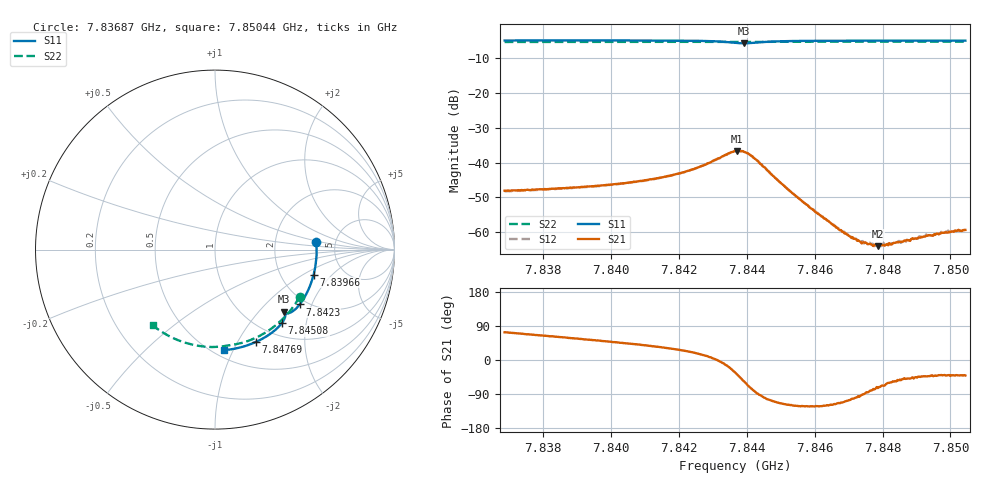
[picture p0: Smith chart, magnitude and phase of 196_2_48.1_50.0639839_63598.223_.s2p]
#  HZ  S  RI  R  50.00
! Rohde & Schwarz Vector Network Analyzer
! Rohde-Schwarz,ZNB20-2Port,1311601062101988,3.16
! Created: UTC 12/23/2023, 3:54:16 AM
! freq[Hz]  re:S11  im:S11  re:S21  im:S21  re:S12  im:S12  re:S22  im:S22
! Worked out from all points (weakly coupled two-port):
!   401 points, 7.83687 GHz to 7.85044 GHz, reference 50 ohm
!   highest |S21| = -36.66 dB at 7.84373 GHz (marker M1); lowest = -64.0 dB at 7.84786 GHz (marker M2)
!   lowest |S11| = -5.7 dB at 7.84393 GHz (marker M3), VSWR 3.13, Z = 73.4 - j69.2 ohm
!   |S11| at or under -10 dB: nowhere
!   |S22| runs from -5.4 to -5.3 dB; largest |S21 - S12| = 0.00031
!   S11 on the Smith chart (normalised r, x): 7.83687 GHz: 3.54, +0.46; 7.83966 GHz: 3.05, -1.26; 7.8423 GHz: 1.84, -1.64; 7.84508 GHz: 1.24, -1.46; 7.84769 GHz: 0.80, -1.20; 7.85044 GHz: 0.56, -0.92
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7.836875e9  0.5643 0.0442  0.00113 0.00377  0.00115 0.00372  0.4713 -0.2622
7.839147e9  0.5569 -0.1065  0.00254 0.00368  0.00251 0.00365  0.3753 -0.3887
7.839656e9  0.5493 -0.1399  0.00292 0.00363  0.00285 0.00357  0.349 -0.4127
7.841419e9  0.5063 -0.252  0.00497 0.00341  0.00492 0.00338  0.2466 -0.4817
7.842301e9  0.4723 -0.3055  0.00709 0.00289  0.00706 0.00293  0.1898 -0.5069
7.843149e9  0.4234 -0.3493  0.0114 -0.000173  0.0113 -0.000205  0.1327 -0.524
7.843658e9  0.3876 -0.3529  0.0123 -0.00782  0.0122 -0.00776  0.0986 -0.53
7.843725e9  0.3849 -0.3511  0.0114 -0.00921  0.0114 -0.00907  0.0943 -0.5308
7.843929e9  0.3835 -0.3456  0.00778 -0.0119  0.00785 -0.0119  0.0814 -0.5328
7.844098e9  0.3877 -0.3467  0.00391 -0.0123  0.00399 -0.0123  0.0707 -0.5349
7.844302e9  0.3921 -0.3558  0.000381 -0.0108  0.000568 -0.0107  0.0571 -0.5375
7.845082e9  0.3742 -0.4074  -0.00205 -0.00427  -0.00207 -0.00428  0.00259 -0.5426
7.84593e9  0.3318 -0.4513  -0.00115 -0.00182  -0.00115 -0.00182  -0.0572 -0.5405
7.847049e9  0.268 -0.4943  -0.000229 -0.000833  -0.000191 -0.000824  -0.1348 -0.5275
7.84732e9  0.2519 -0.5032  -9.28e-05 -0.000736  -6.3e-05 -0.000726  -0.1531 -0.5226
7.847693e9  0.2294 -0.5141  0.000114 -0.000646  0.000152 -0.000667  -0.1781 -0.5148
7.847863e9  0.2187 -0.5188  0.000171 -0.000607  0.000177 -0.000614  -0.1894 -0.5109
7.848202e9  0.1977 -0.527  0.000344 -0.000605  0.000327 -0.000608  -0.2116 -0.5023
7.848439e9  0.1827 -0.5325  0.000435 -0.000571  0.000419 -0.000593  -0.227 -0.4957
7.848609e9  0.1719 -0.536  0.00047 -0.000565  0.00047 -0.00056  -0.2378 -0.4908
7.849355e9  0.1239 -0.549  0.000669 -0.000611  0.000676 -0.000604  -0.2838 -0.466
7.85044e9  0.0525 -0.56  0.000814 -0.000704  0.000833 -0.000706  -0.346 -0.4227
